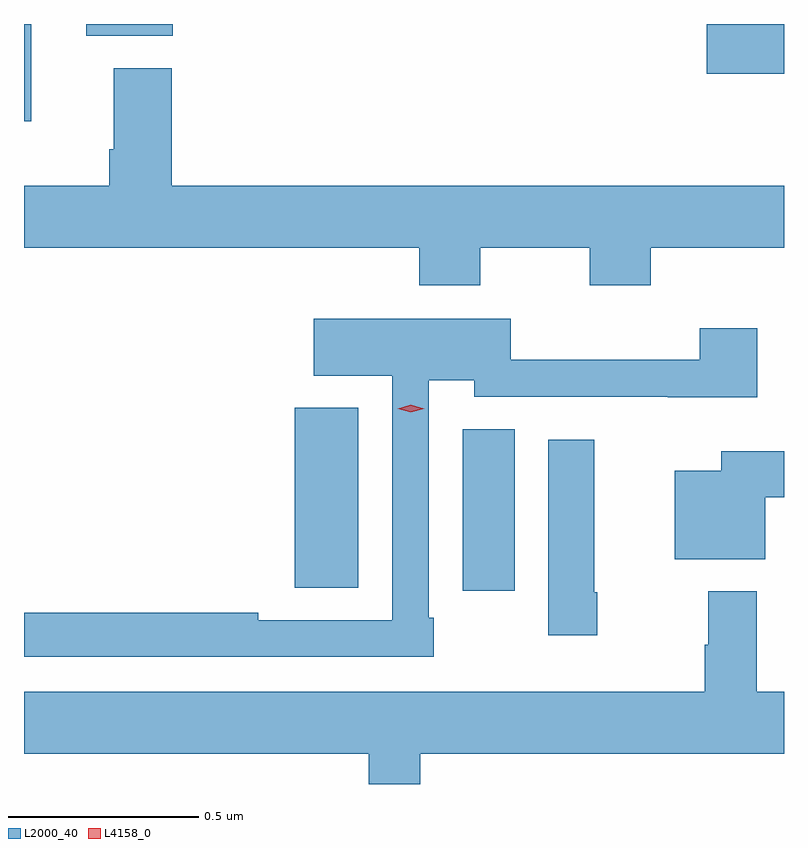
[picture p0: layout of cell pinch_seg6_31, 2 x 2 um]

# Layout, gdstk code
import gdstk
lib = gdstk.Library(unit=1e-6, precision=1e-09)
def R(c, l, rs):  # rectangles x0, y0, x1, y1
    for r in rs: c.add(gdstk.rectangle(r[:2], r[2:], *l))
def P(c, l, *ps):  # polygons
    for p in ps: c.add(gdstk.Polygon(p, *l))
L2000_40 = (2000, 40)
L4158_0 = (4158, 0)

pinch_seg6_31 = lib.new_cell('pinch_seg6_31')
R(pinch_seg6_31, L2000_40, [(972.329,959.754,972.466,960.179), (971.888,959.761,972.055,960.235), (971.175,960.989,971.194,961.245), (972.972,961.114,973.175,961.245), (971.339,961.214,971.566,961.245)])
P(pinch_seg6_31, L2000_40, [(972.375,960.656),(972.664,960.656),(972.664,960.557),(972.824,960.557),(972.824,960.656),(973.175,960.656),(973.175,960.82),(971.564,960.82),(971.564,961.129),(971.411,961.129),(971.411,960.916),(971.399,960.916),(971.399,960.82),(971.175,960.82),(971.175,960.656),(972.215,960.656),(972.215,960.557),(972.375,960.557)],
  [(972.253,959.683),(972.24,959.683),(972.24,960.308),(972.36,960.308),(972.36,960.264),(972.869,960.264),(972.869,960.263),(973.105,960.263),(973.105,960.445),(972.953,960.445),(972.953,960.362),(972.456,960.362),(972.456,960.469),(971.937,960.469),(971.937,960.32),(972.144,960.32),(972.144,959.676),(971.792,959.676),(971.792,959.696),(971.175,959.696),(971.175,959.58),(972.253,959.58)],
  [(972.684,959.749),(972.676,959.749),(972.676,960.151),(972.554,960.151),(972.554,959.637),(972.684,959.637)],
  [(973.126,959.999),(973.175,959.999),(973.175,960.121),(973.01,960.121),(973.01,960.07),(972.887,960.07),(972.887,959.837),(973.126,959.837)],
  [(972.218,959.324),(973.175,959.324),(973.175,959.488),(973.103,959.488),(973.103,959.752),(972.975,959.752),(972.975,959.612),(972.967,959.612),(972.967,959.488),(971.175,959.488),(971.175,959.324),(972.082,959.324),(972.082,959.245),(972.218,959.245)])
P(pinch_seg6_31, L4158_0, [(972.193,960.223),(972.158,960.232),(972.158,960.233),(972.158,960.233),(972.193,960.243),(972.228,960.233),(972.228,960.233),(972.228,960.232)])

lib.write_gds('pinch_seg6_31.gds')
